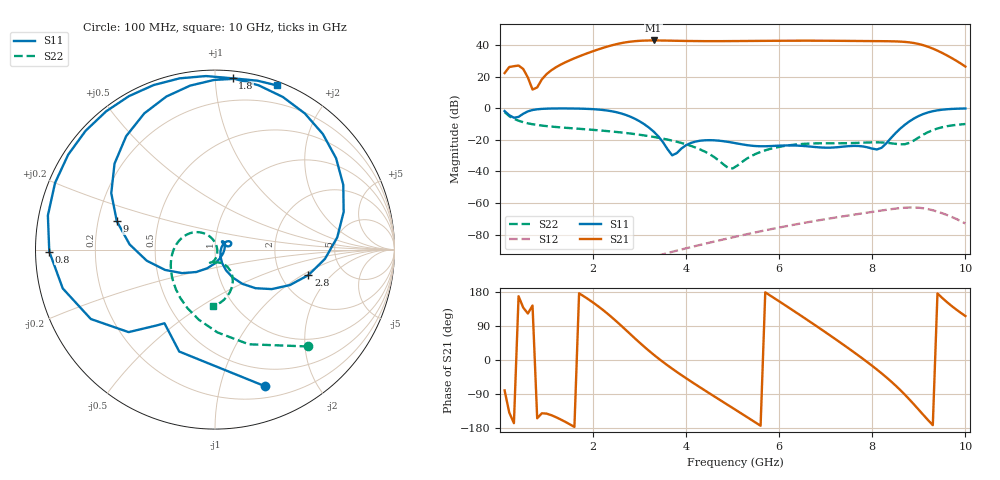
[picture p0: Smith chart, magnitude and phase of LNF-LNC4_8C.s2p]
! AWR Design Environment (17442) Wed Apr 12 16:42:06 2023
! Document = 'Adagio'
! nPorts: 2, nXvals: 101
# GHz S DB R 50
!Freq DBS11 AngS11 DBS21 AngS21 DBS12 AngS12 DBS22 AngS22
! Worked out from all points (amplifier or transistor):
!   100 points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, 100 MHz to 10 GHz, reference 50 ohm
!   highest |S21| = 42.8 dB at 3.3 GHz (marker M1)
!   |S21| within 3 dB of that: 2.413 GHz to 9.096 GHz (6.682 GHz wide, 116 % of centre)
!   unconditionally stable (mu >= 1): start of sweep to end of sweep
!   at 1.7 GHz: K = 1016.93, MAG = 45.0 dB, |S12| = -123.4 dB
!   at 5.1 GHz: K = 42.02, MAG = 42.5 dB, |S12| = -81.0 dB
!   at 10 GHz: K = 4.51, MAG = 40.1 dB, |S12| = -72.8 dB
!   lowest NFmin = 0.00 dB at 0 Hz
!   S11 on the Smith chart (normalised r, x): 100 MHz: 0.31, -1.38; 800 MHz: 0.04, -0.01; 1.8 GHz: 0.05, +1.11; 2.8 GHz: 2.84, -1.14; 9 GHz: 0.28, +0.13; 10 GHz: 0.04, +1.44
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0.1  -1.83 -69.9  22.18 -80.2  -148.09 7.1  -2.50 -46.1
0.4  -5.49 -127.4  26.93 168.3  -141.12 114.5  -7.93 -102.9
0.8  -0.69 -179.3  13.13 -153.7  -156.10 3.8  -10.61 -141.8
1.8  -0.36 84.1  33.86 168.3  -120.66 -60.0  -13.25 172.5
2.3  -1.46 37.0  38.87 123.4  -108.61 -94.8  -14.46 157.3
2.8  -5.36 -15.2  42.03 68.4  -99.70 -140.7  -16.01 143.3
3.3  -14.74 -57.8  42.80 14.3  -94.06 174.1  -18.15 129.6
3.4  -17.72 -62.0  42.78 4.5  -93.19 166.0  -18.67 126.8
3.9  -25.46 32.6  42.53 -39.9  -89.28 130.1  -21.99 112.2
4.3  -20.57 29.3  42.39 -72.2  -86.41 104.5  -26.05 97.6
5.1  -22.32 13.6  42.42 -134.4  -80.97 55.0  -36.29 -32.9
5.5  -23.95 22.4  42.51 -165.7  -78.42 29.8  -28.83 -75.2
5.9  -23.82 32.3  42.58 162.7  -76.01 4.0  -25.07 -91.0
6.7  -24.35 35.5  42.64 97.8  -71.62 -49.6  -22.31 -108.7
7.2  -24.78 47.7  42.58 55.7  -69.15 -85.0  -22.17 -110.9
7.7  -23.87 38.4  42.46 12.0  -66.86 -122.2  -21.90 -106.4
8.1  -26.07 -26.7  42.37 -25.3  -65.09 -154.5  -21.59 -103.3
8.4  -18.91 -112.9  42.27 -56.2  -63.84 178.3  -22.15 -98.8
8.7  -10.45 -157.8  41.88 -91.5  -62.90 146.5  -22.76 -77.4
9  -4.89 163.9  40.55 -131.6  -62.91 110.0  -18.45 -54.1
9.5  -0.97 107.6  34.93 164.1  -66.37 51.4  -12.04 -70.4
10  -0.20 69.4  26.30 116.1  -72.85 8.8  -10.01 -91.9
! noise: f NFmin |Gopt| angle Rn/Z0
0  1.929e-15  0.9998  180  2e-20
1.1  0.1274  0.9034  -148.7  0.01798
2.2  0.01927  0.8465  -63.23  0.01851
3.3  0.01566  0.6944  11.53  0.009426
4.4  0.01732  0.4672  92.55  0.002838
5.5  0.02017  0.3269  -173.8  0.001116
6.6  0.02336  0.3035  -90.1  0.003021
7.7  0.0271  0.1918  -8.092  0.004278
8.8  0.03432  0.386  -167  0.00171
10  0.09105  0.9261  -68.68  0.1607
